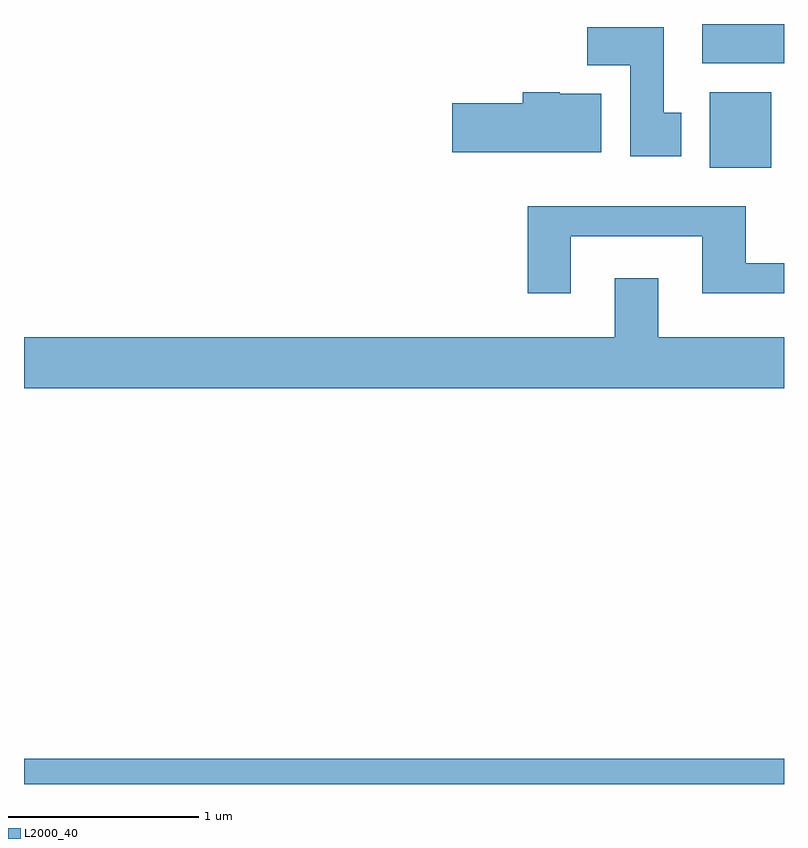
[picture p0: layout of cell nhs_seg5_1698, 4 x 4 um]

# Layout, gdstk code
import gdstk
lib = gdstk.Library(unit=1e-6, precision=1e-09)
def R(c, l, rs):  # rectangles x0, y0, x1, y1
    for r in rs: c.add(gdstk.rectangle(r[:2], r[2:], *l))
def P(c, l, *ps):  # polygons
    for p in ps: c.add(gdstk.Polygon(p, *l))
L2000_40 = (2000, 40)

nhs_seg5_1698 = lib.new_cell('nhs_seg5_1698')
R(nhs_seg5_1698, L2000_40, [(235.611,1428.072,239.611,1428.204), (239.221,1431.316,239.544,1431.714), (239.181,1431.866,239.611,1432.072)])
P(nhs_seg5_1698, L2000_40, [(239.069,1431.604),(238.979,1431.604),(238.979,1432.054),(238.576,1432.054),(238.576,1431.856),(238.801,1431.856),(238.801,1431.376),(239.069,1431.376)],
  [(238.649,1431.704),(238.43,1431.704),(238.43,1431.714),(238.236,1431.714),(238.236,1431.654),(237.866,1431.654),(237.866,1431.396),(238.649,1431.396)],
  [(238.489,1430.956),(239.181,1430.956),(239.181,1430.656),(239.611,1430.656),(239.611,1430.814),(239.409,1430.814),(239.409,1431.114),(238.261,1431.114),(238.261,1430.656),(238.489,1430.656)],
  [(239.611,1430.424),(238.949,1430.424),(238.949,1430.734),(238.721,1430.734),(238.721,1430.424),(235.611,1430.424),(235.611,1430.156),(239.611,1430.156)])

lib.write_gds('nhs_seg5_1698.gds')
